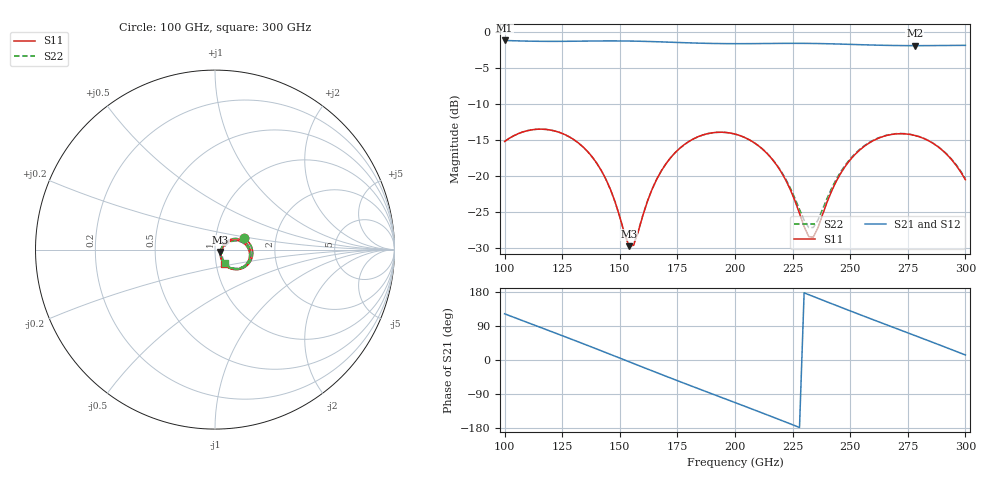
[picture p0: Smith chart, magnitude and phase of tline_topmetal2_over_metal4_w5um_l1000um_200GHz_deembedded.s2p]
! Created with skrf 2.2.0 (http://scikit-rf.org).
# GHz S DB R 50.0
! Port[1] = P1
! Port[2] = P2
!freq dBS11 angS11 dBS21 angS21 dBS12 angS12 dBS22 angS22
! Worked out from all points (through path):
!   101 points, 100 GHz to 300 GHz, reference 50 ohm
!   highest |S21| = -1.12 dB at 100 GHz (marker M1); lowest = -1.8 dB at 278 GHz (marker M2)
!   group delay of S21, straight-line fit = 6.52 ps
!   lowest |S11| = -29.8 dB at 154 GHz (marker M3), VSWR 1.07, Z = 53 - j1.36 ohm
!   |S11| at or under -10 dB: start of sweep to end of sweep
!   |S22| runs from -29.7 to -13.5 dB; largest |S21 - S12| = 1e-13
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100  -15.21 21.2  -1.12 121.9  -1.12 121.9  -15.20 21.1
108  -13.87 5.7  -1.19 103.4  -1.19 103.4  -13.87 5.7
116  -13.49 -10.1  -1.24 85.0  -1.24 85.0  -13.49 -10.0
124  -13.96 -25.9  -1.24 66.5  -1.24 66.5  -13.97 -25.6
134  -15.95 -44.6  -1.21 43.2  -1.21 43.2  -15.97 -44.2
144  -20.49 -58.4  -1.18 19.4  -1.18 19.4  -20.51 -57.6
154  -29.81 -23.3  -1.20 -4.6  -1.20 -4.6  -29.70 -22.3
156  -29.68 2.2  -1.21 -9.4  -1.21 -9.4  -29.56 2.8
162  -23.55 34.2  -1.26 -23.7  -1.26 -23.7  -23.52 34.5
168  -19.32 32.5  -1.32 -38.0  -1.32 -38.0  -19.31 33.0
184  -14.54 6.3  -1.49 -75.4  -1.49 -75.4  -14.55 7.3
200  -14.17 -23.9  -1.56 -112.3  -1.56 -112.3  -14.18 -22.3
218  -18.46 -53.7  -1.53 -154.3  -1.53 -154.3  -18.40 -50.5
224  -21.91 -57.2  -1.52 -168.5  -1.52 -168.5  -21.69 -52.7
232  -28.48 -25.2  -1.53 172.4  -1.53 172.4  -27.21 -21.6
234  -28.55 -4.8  -1.54 167.6  -1.54 167.6  -27.20 -4.8
248  -18.61 25.7  -1.64 134.3  -1.64 134.3  -18.44 23.8
258  -15.46 10.6  -1.74 110.9  -1.74 110.9  -15.39 9.8
268  -14.22 -7.4  -1.81 87.8  -1.81 87.8  -14.19 -7.5
278  -14.36 -25.7  -1.84 64.7  -1.84 64.7  -14.34 -25.2
290  -16.43 -46.0  -1.82 36.8  -1.82 36.8  -16.39 -44.6
300  -20.54 -56.1  -1.80 13.2  -1.80 13.2  -20.38 -53.3
